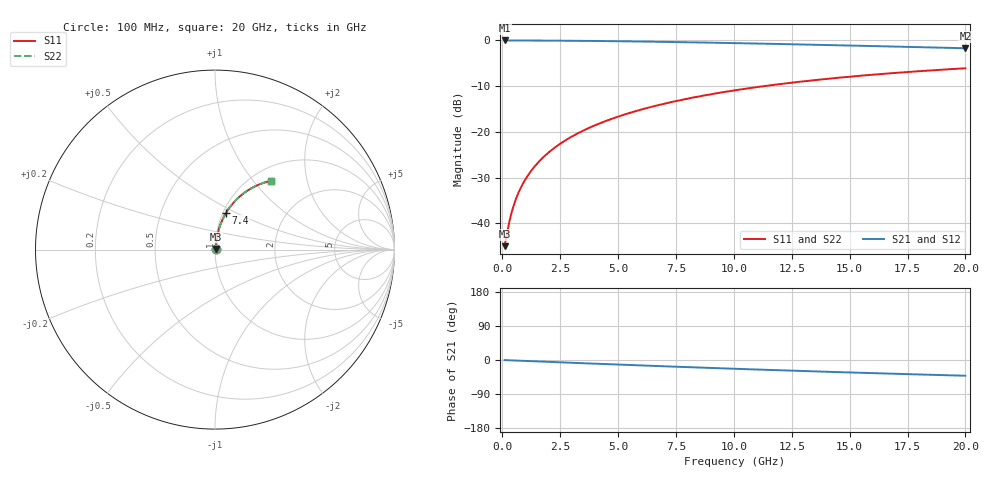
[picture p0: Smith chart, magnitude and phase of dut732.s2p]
! Touchstone file exported from HFSS 2024.1.0
!  File:  C:/UserFiles/LocalFiles/RDL_TSV_Batchsim/temp_RDL_top_732_1779851084.aedt
!  Generated:  11:07:12 AM May 27, 2026
!  Design:  RDL_top
!  Project:  temp_RDL_top_732_1779851084
!  Setup:  Setup1
!  Solution:  Sweep
! Variables:
!  dtsv = 10.80580581um
!  hbump = 3um
!  htsv = 53.31um
!  ldown = 100um
!  lrdl = 503.59um
!  p = 40
!  p1 = 53.52um
!  rhole = 1um
!  t = 450um
!  tdown = 3.915915916um
!  trdl = 3.45um
!  wdown = 15.38538539um
!  wrdl = 10.98um
# GHz S MA R 50.000000
! Terminal data exported
! Port[1] = Box2_T1
! Port[2] = Box2_T2
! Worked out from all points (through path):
!   200 points, 100 MHz to 20 GHz, reference 50 ohm
!   highest |S21| = -0.04 dB at 100 MHz (marker M1); lowest = -1.7 dB at 20 GHz (marker M2)
!   group delay of S21, straight-line fit = 5.77 ps
!   lowest |S11| = -45.0 dB at 100 MHz (marker M3), VSWR 1.01, Z = 50.5 + j0.307 ohm
!   |S11| at or under -10 dB: start of sweep to 11.32 GHz
!   |S22| runs from -45.0 to -6.1 dB; largest |S21 - S12| = 1.6e-15
!   S11 on the Smith chart (normalised r, x): 100 MHz: 1.01, +0.01; 7.4 GHz: 1.03, +0.44; 20 GHz: 1.22, +1.24
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0.1  0.005653 32.6  0.9952 -0.3  0.9952 -0.3  0.005653 32.6
! Gamma 0 0 0 0
! Port Impedance 50 0 50 0
0.2  0.007763 51.5  0.9952 -0.5  0.9952 -0.5  0.007763 51.5
0.3  0.01034 61.4  0.9951 -0.8  0.9951 -0.8  0.01034 61.4
0.4  0.0131 67.1  0.995 -1.0  0.995 -1.0  0.0131 67.1
0.5  0.01593 70.8  0.9948 -1.2  0.9948 -1.2  0.01593 70.8
0.6  0.0188 73.2  0.9947 -1.5  0.9947 -1.5  0.0188 73.2
0.8  0.02457 76.3  0.9943 -2.0  0.9943 -2.0  0.02457 76.3
1.1  0.03328 78.7  0.9938 -2.7  0.9938 -2.7  0.03328 78.7
1.5  0.04494 80.1  0.9929 -3.7  0.9929 -3.7  0.04494 80.1
1.8  0.0537 80.6  0.9921 -4.4  0.9921 -4.4  0.0537 80.6
2.1  0.06248 80.7  0.9911 -5.2  0.9911 -5.2  0.06248 80.7
2.7  0.08002 80.6  0.9889 -6.6  0.9889 -6.6  0.08002 80.6
3.5  0.1034 79.8  0.9852 -8.5  0.9852 -8.5  0.1034 79.8
4.2  0.1237 78.8  0.9812 -10.2  0.9812 -10.2  0.1237 78.8
5  0.1467 77.5  0.9761 -12.1  0.9761 -12.1  0.1467 77.5
6.8  0.1975 74.4  0.9621 -16.2  0.9621 -16.2  0.1975 74.4
7.4  0.2141 73.2  0.9569 -17.5  0.9569 -17.5  0.2141 73.2
8.7  0.2492 70.8  0.9447 -20.3  0.9447 -20.3  0.2492 70.8
10.1  0.2857 68.1  0.9305 -23.3  0.9305 -23.3  0.2857 68.1
13.4  0.3652 62.0  0.8944 -29.9  0.8944 -29.9  0.3652 62.0
16.7  0.4349 56.2  0.8563 -35.9  0.8563 -35.9  0.4349 56.1
20  0.4948 50.8  0.8181 -41.5  0.8181 -41.5  0.4947 50.8
